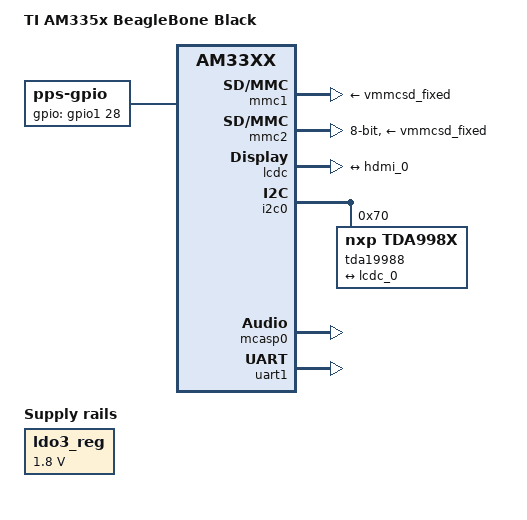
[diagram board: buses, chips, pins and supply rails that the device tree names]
/*
 * Copyright (C) 2012 Texas Instruments Incorporated - http://www.ti.com/
 *
 * This program is free software; you can redistribute it and/or modify
 * it under the terms of the GNU General Public License version 2 as
 * published by the Free Software Foundation.
 */
/dts-v1/;

#include "am33xx.dtsi"
#include "am335x-bone-common.dtsi"

/ {
	model = "TI AM335x BeagleBone Black";
	compatible = "ti,am335x-bone-black", "ti,am335x-bone", "ti,am33xx";
};

&ldo3_reg {
	regulator-min-microvolt = <1800000>;
	regulator-max-microvolt = <1800000>;
	regulator-always-on;
};

&mmc1 {
	vmmc-supply = <&vmmcsd_fixed>;
};

&mmc2 {
	vmmc-supply = <&vmmcsd_fixed>;
	pinctrl-names = "default";
	pinctrl-0 = <&emmc_pins>;
	bus-width = <8>;
	status = "okay";
};

/* {{{ HDMI */
&am33xx_pinmux {
	nxp_hdmi_bonelt_pins: nxp_hdmi_bonelt_pins {
		pinctrl-single,pins = <
			AM33XX_IOPAD(0x9b0, PIN_OUTPUT_PULLDOWN | MUX_MODE3)	/* xdma_event_intr0 */
			AM33XX_IOPAD(0x8a0, PIN_OUTPUT | MUX_MODE0)		/* lcd_data0.lcd_data0 */
			AM33XX_IOPAD(0x8a4, PIN_OUTPUT | MUX_MODE0)		/* lcd_data1.lcd_data1 */
			AM33XX_IOPAD(0x8a8, PIN_OUTPUT | MUX_MODE0)		/* lcd_data2.lcd_data2 */
			AM33XX_IOPAD(0x8ac, PIN_OUTPUT | MUX_MODE0)		/* lcd_data3.lcd_data3 */
			AM33XX_IOPAD(0x8b0, PIN_OUTPUT | MUX_MODE0)		/* lcd_data4.lcd_data4 */
			AM33XX_IOPAD(0x8b4, PIN_OUTPUT | MUX_MODE0)		/* lcd_data5.lcd_data5 */
			AM33XX_IOPAD(0x8b8, PIN_OUTPUT | MUX_MODE0)		/* lcd_data6.lcd_data6 */
			AM33XX_IOPAD(0x8bc, PIN_OUTPUT | MUX_MODE0)		/* lcd_data7.lcd_data7 */
			AM33XX_IOPAD(0x8c0, PIN_OUTPUT | MUX_MODE0)		/* lcd_data8.lcd_data8 */
			AM33XX_IOPAD(0x8c4, PIN_OUTPUT | MUX_MODE0)		/* lcd_data9.lcd_data9 */
			AM33XX_IOPAD(0x8c8, PIN_OUTPUT | MUX_MODE0)		/* lcd_data10.lcd_data10 */
			AM33XX_IOPAD(0x8cc, PIN_OUTPUT | MUX_MODE0)		/* lcd_data11.lcd_data11 */
			AM33XX_IOPAD(0x8d0, PIN_OUTPUT | MUX_MODE0)		/* lcd_data12.lcd_data12 */
			AM33XX_IOPAD(0x8d4, PIN_OUTPUT | MUX_MODE0)		/* lcd_data13.lcd_data13 */
			AM33XX_IOPAD(0x8d8, PIN_OUTPUT | MUX_MODE0)		/* lcd_data14.lcd_data14 */
			AM33XX_IOPAD(0x8dc, PIN_OUTPUT | MUX_MODE0)		/* lcd_data15.lcd_data15 */
			AM33XX_IOPAD(0x8e0, PIN_OUTPUT_PULLDOWN | MUX_MODE0)	/* lcd_vsync.lcd_vsync */
			AM33XX_IOPAD(0x8e4, PIN_OUTPUT_PULLDOWN | MUX_MODE0)	/* lcd_hsync.lcd_hsync */
			AM33XX_IOPAD(0x8e8, PIN_OUTPUT_PULLDOWN | MUX_MODE0)	/* lcd_pclk.lcd_pclk */
			AM33XX_IOPAD(0x8ec, PIN_OUTPUT_PULLDOWN | MUX_MODE0)	/* lcd_ac_bias_en.lcd_ac_bias_en */
		>;
	};
	nxp_hdmi_bonelt_off_pins: nxp_hdmi_bonelt_off_pins {
		pinctrl-single,pins = <
			AM33XX_IOPAD(0x9b0, PIN_OUTPUT_PULLDOWN | MUX_MODE3)	/* xdma_event_intr0 */
		>;
	};
};

&lcdc {
	status = "okay";
	port {
		lcdc_0: endpoint@0 {
			remote-endpoint = <&hdmi_0>;
		};
	};
};

&i2c0 {
	tda19988: tda19988 {
		compatible = "nxp,tda998x";
		reg = <0x70>;

		pinctrl-names = "default", "off";
		pinctrl-0 = <&nxp_hdmi_bonelt_pins>;
		pinctrl-1 = <&nxp_hdmi_bonelt_off_pins>;

		ports {
			port@0 {
				hdmi_0: endpoint@0 {
					remote-endpoint = <&lcdc_0>;
				};
			};
		};
	};
};
/* }}} */

/* {{{ McASP 4-CH Output */

&cpu0_opp_table {
	/*
	 * All PG 2.0 silicon may not support 1GHz but some of the early
	 * BeagleBone Blacks have PG 2.0 silicon which is guaranteed
	 * to support 1GHz OPP so enable it for PG 2.0 on this board.
	 */
	oppnitro@1000000000 {
		opp-supported-hw = <0x06 0x0100>;
	};

};

&rtc {
	system-power-controller;
};


&am33xx_pinmux {
	mcasp0_4ch_pins_default: mcasp0_4ch_pins_default {
		pinctrl-single,pins = <
			AM33XX_IOPAD(0x9ac, PIN_INPUT_PULLDOWN | MUX_MODE0 ) /* (A14) mcasp0_ahclkx.mcasp0_ahclkx */
			AM33XX_IOPAD(0x990, PIN_OUTPUT_PULLDOWN | MUX_MODE0 ) /* (A13) mcasp0_aclkx.mcasp0_aclkx */
			AM33XX_IOPAD(0x994, PIN_OUTPUT_PULLDOWN | MUX_MODE0 ) /* (B13) mcasp0_fsx.mcasp0_fsx */
			AM33XX_IOPAD(0x998, PIN_OUTPUT_PULLDOWN | MUX_MODE0 ) /* (D12) mcasp0_axr0.mcasp0_axr0 */
			AM33XX_IOPAD(0x9a8, PIN_OUTPUT_PULLDOWN | MUX_MODE0 ) /* (D13) mcasp0_axr1.mcasp0_axr1 */
		>;
	};
	mcasp0_4ch_pins_sleep: mcasp0_4ch_pins_sleep {
		pinctrl-single,pins = <
			AM33XX_IOPAD(0x9ac, PIN_INPUT_PULLDOWN | MUX_MODE7 ) /* (A14) mcasp0_ahclkx.mcasp0_ahclkx */
			AM33XX_IOPAD(0x990, PIN_INPUT_PULLDOWN | MUX_MODE7 ) /* (A13) mcasp0_aclkx.mcasp0_aclkx */
			AM33XX_IOPAD(0x994, PIN_INPUT_PULLDOWN | MUX_MODE7 ) /* (B13) mcasp0_fsx.mcasp0_fsx */
			AM33XX_IOPAD(0x998, PIN_INPUT_PULLDOWN | MUX_MODE7 ) /* (D12) mcasp0_axr0.mcasp0_axr0 */
			AM33XX_IOPAD(0x9a8, PIN_INPUT_PULLDOWN | MUX_MODE7 ) /* (D13) mcasp0_axr1.mcasp0_axr1 */
		>;
	};
};

#if 0
	XXX: D13 and D14 are on P9#41, it must be disabled.
	gpio1[27] must be in GPIO mode to expose 24.576 MHz clock on P9#25
#endif
&clkout2_pin {
	pinctrl-single,pins = <
		AM33XX_IOPAD(0x9b4, PIN_INPUT_PULLDOWN | MUX_MODE7 ) /* (D14) xdma_event_intr1.gpio0[20] */
		AM33XX_IOPAD(0x86c, PIN_OUTPUT | MUX_MODE7 ) /* (V17) gpmc_a11.gpio1[27] */
	>;
};

&mcasp0 {
	#sound-dai-cells = <0>;
	pinctrl-names = "default", "sleep";
	pinctrl-0 = <&mcasp0_4ch_pins_default>;
	pinctrl-1 = <&mcasp0_4ch_pins_sleep>;
	status = "okay";
	op-mode = <0>;
	tdm-slots = <2>;
	serial-dir = <1 1 0 0>;
	tx-num-evt = <32>;
	rx-num-evt = <32>;
};

/ {
#if 0
	clk_mcasp0_fixed: clk_mcasp0_fixed {
		#clock-cells = <0>;
		compatible = "fixed-clock";
		clock-frequency = <24576000>;
	};

	clk_mcasp0: clk_mcasp0 {
		#clock-cells = <0>;
		compatible = "gpio-gate-clock";
		clocks = <&clk_mcasp0_fixed>;
		enable-gpios = <&gpio1 27 0>; /* BeagleBone Black Clk enable on GPIO1_27 */
	};
#endif

	audio_codec_left: pcm5102a@0 {
		compatible = "ti,pcm5102a";
		status = "okay";
	};

	audio_codec_right: pcm5102a@1 {
		compatible = "ti,pcm5102a";
		status = "okay";
	};

	sound {
		compatible = "nulbbb,audio";
		nulbbb,model = "TI BBB McASP0";
		nulbbb,mcasp-controller = <&mcasp0>;
		nulbbb,audio-codec = <&audio_codec_left>, <&audio_codec_right>;
		nulbbb,codec-clock-rate = <24576000>;
		nulbbb,codec-name = "pcm5102a-hifi", "pcm5102a-hifi";
		status = "okay";
	};

};

/* }}} */

/* {{{ GPS UART + GPIO PPS */

&am33xx_pinmux {
	uart1_gps_pins_default: uart1_gps_pins_default {
		pinctrl-single,pins = <
			AM33XX_IOPAD(0x980, PIN_INPUT_PULLUP | MUX_MODE0) /* (D16) uart1_rxd.uart1_rxd */
			AM33XX_IOPAD(0x984, PIN_OUTPUT_PULLDOWN | MUX_MODE0) /* (D15) uart1_txd.uart1_txd */
		>;
	};
	gpio1_gps_pps_pins_default: gpio1_gps_pps_pins_default {
		pinctrl-single,pins = <
			AM33XX_IOPAD(0x878, PIN_INPUT | MUX_MODE7) /* (U18) gpmc_be1n.gpio1[28] */
		>;
	};
};

&uart1 {
	pinctrl-names = "default";
	pinctrl-0 = <&uart1_gps_pins_default>;
	status = "okay";
};

/ {
	pps {
		compatible = "pps-gpio";
		status = "okay";
		pinctrl-names = "default";
		pinctrl-0 = <&gpio1_gps_pps_pins_default>;
		gpios = <&gpio1 28 0>;
	};
};

/* }}} */

/* {{{ SPI LCD Touchscreen */

#if 0

/* #define SPI0 */
&am33xx_pinmux {

#ifdef SPI0
	spi0_display_pins_default: spi0_display_pins_default {
		pinctrl-single,pins = <
			AM33XX_IOPAD(0x950, PIN_OUTPUT_PULLDOWN | MUX_MODE0 ) /* (A17) spi0_sclk.spi0_sclk */
			AM33XX_IOPAD(0x954, PIN_INPUT_PULLUP | MUX_MODE0 ) /* (B17) spi0_d0.spi0_d0 */
			AM33XX_IOPAD(0x958, PIN_OUTPUT_PULLDOWN | MUX_MODE0 ) /* (B16) spi0_d1.spi0_d1 */
			AM33XX_IOPAD(0x95c, PIN_OUTPUT_PULLUP | MUX_MODE0 ) /* (A16) spi0_cs0.spi0_cs0 */
#if 0
			AM33XX_IOPAD(0x960, PIN_OUTPUT_PULLUP | MUX_MODE0 ) /* (C15) spi0_cs1.spi0_cs1 */
#endif
		>;
	};
#endif
#ifdef SPI1
	spi1_display_pins_default: spi1_display_pins_default {
		pinctrl-single,pins = <
			AM33XX_IOPAD(0x990, PIN_OUTPUT_PULLUP | MUX_MODE3 ) /* (A13) mcasp0_aclkx.spi1_sclk */
			AM33XX_IOPAD(0x994, PIN_INPUT_PULLUP | MUX_MODE3 ) /* (B13) mcasp0_fsx.spi1_d0 */
			AM33XX_IOPAD(0x998, PIN_OUTPUT_PULLUP | MUX_MODE3 ) /* (D12) mcasp0_axr0.spi1_d1 */
			AM33XX_IOPAD(0x99c, PIN_OUTPUT_PULLUP | MUX_MODE3 ) /* (C12) mcasp0_ahclkr.spi1_cs0 */
		>;
	};
#endif
	xpt2046_irq_pins_default: xpt2046_irq_pins_default {
		pinctrl-single,pins = <
			AM33XX_IOPAD(0x87c, PIN_INPUT | MUX_MODE7) /* (V6) gpmc_csn0.gpio1[29] */
		>;
	};
};

#ifdef SPI0
&spi0 {

	pinctrl-names = "default";
	pinctrl-0 = <&spi0_display_pins_default>;
	status = "okay";

    ili9486: ili9486@0 {
        compatible = "ilitek,ili9486";
        spi-max-frequency = <32000000>;
        reg = <0>;
        buswidth = <9>;
        debug = <3>;
        status = "okay";
    };

    xpt2046: xpt2046@1 {
        compatible = "ti,ads7846";
        spi-max-frequency = <1000000>;
        reg = <1>;
        interrupt-parent = <&gpio1>;
        interrupts = <29 0>;
        pendown-gpio = <&gpio1 29 0>;
        vcc-supply = <&ldo4_reg>;
        status = "okay";
    };

};
#endif

#ifdef SPI1
&spi1 {

	pinctrl-names = "default";
	pinctrl-0 = <&spi1_display_pins_default>;
	status = "okay";

	ili9486: ili9486@0 {
		compatible = "ilitek,ili9486";
		spi-max-frequency = <32000000>;
		reg = <0>;
		buswidth = <9>;
		debug = <3>;
		status = "okay";
	};

	xpt2046: xpt2046@1 {
		compatible = "ti,ads7846";
		spi-max-frequency = <1000000>;
		reg = <1>;
		interrupt-parent = <&gpio1>;
		interrupts = <29 0>;
		pendown-gpio = <&gpio1 29 0>;
		vcc-supply = <&ldo4_reg>;
		status = "okay";
	};

};
#endif

#endif

/* }}} */

/* vim: foldmethod=marker */
